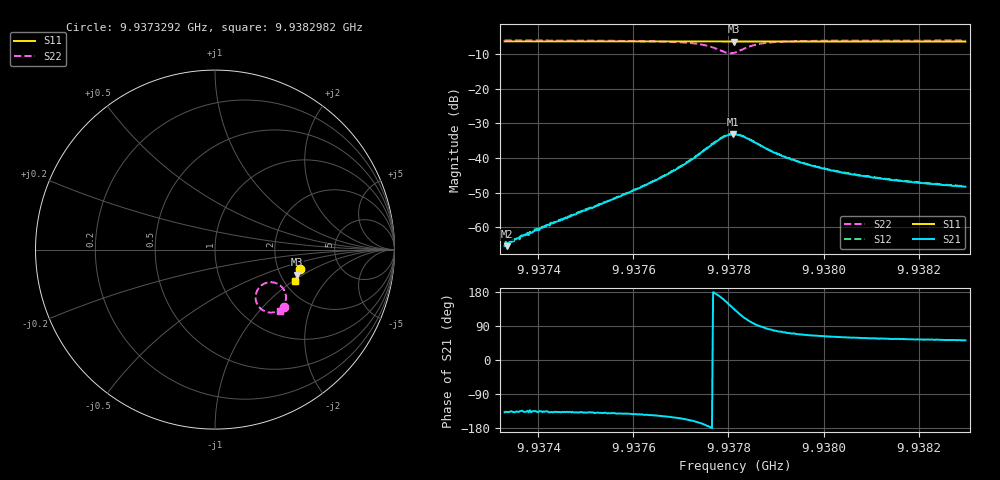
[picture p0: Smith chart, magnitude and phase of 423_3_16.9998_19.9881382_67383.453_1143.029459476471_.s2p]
#  HZ  S  RI  R  50.00
! Rohde & Schwarz Vector Network Analyzer
! Rohde-Schwarz,ZNB20-2Port,1311601062101988,3.16
! Created: UTC 3/20/2024, 11:11:03 PM
! freq[Hz]  re:S11  im:S11  re:S21  im:S21  re:S12  im:S12  re:S22  im:S22
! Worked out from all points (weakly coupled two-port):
!   401 points, 9.9373292 GHz to 9.9382982 GHz, reference 50 ohm
!   highest |S21| = -33.15 dB at 9.9378089 GHz (marker M1); lowest = -65.5 dB at 9.937334 GHz (marker M2)
!   lowest |S11| = -6.4 dB at 9.9378113 GHz (marker M3), VSWR 2.84, Z = 123 - j44.8 ohm
!   |S11| at or under -10 dB: nowhere
!   |S22| runs from -9.8 to -6.1 dB; largest |S21 - S12| = 0.00091
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9.93732918e9  0.4709 -0.1103  -0.000399 -0.00036  -0.000432 -0.000363  0.3822 -0.3187
9.93733403e9  0.4705 -0.1108  -0.000391 -0.000361  -0.000434 -0.000398  0.3818 -0.319
9.9373413e9  0.4704 -0.1112  -0.000449 -0.000434  -0.000458 -0.000403  0.3813 -0.3194
9.93736552e9  0.4698 -0.1129  -0.000527 -0.000552  -0.000538 -0.0005  0.3794 -0.3215
9.93738248e9  0.4694 -0.114  -0.000568 -0.000617  -0.000633 -0.000564  0.3779 -0.3227
9.9374164e9  0.4688 -0.1163  -0.000735 -0.000726  -0.000805 -0.000713  0.3749 -0.3253
9.9374915e9  0.4673 -0.1213  -0.00123 -0.00114  -0.00128 -0.00114  0.3668 -0.3314
9.93758598e9  0.465 -0.1277  -0.00239 -0.00191  -0.00246 -0.00187  0.3523 -0.3405
9.93765382e9  0.4633 -0.1323  -0.00424 -0.00272  -0.00431 -0.00268  0.3337 -0.3477
9.93770469e9  0.4618 -0.1357  -0.00715 -0.00326  -0.00734 -0.00322  0.3071 -0.3507
9.93775073e9  0.4601 -0.1386  -0.013 -0.00209  -0.0132 -0.00179  0.2614 -0.3347
9.93778706e9  0.4582 -0.1402  -0.0187 0.00606  -0.0189 0.00656  0.2263 -0.264
9.93780887e9  0.4578 -0.1404  -0.0163 0.0148  -0.016 0.0155  0.2582 -0.1998
9.93781129e9  0.4577 -0.1405  -0.0155 0.0154  -0.0152 0.0162  0.265 -0.1949
9.93781371e9  0.4578 -0.1406  -0.0146 0.0163  -0.0145 0.017  0.2723 -0.1906
9.93783552e9  0.4582 -0.1415  -0.00664 0.0186  -0.00614 0.0191  0.3381 -0.186
9.93786701e9  0.4583 -0.1439  0.000382 0.0151  0.000687 0.0152  0.3849 -0.2252
9.93791789e9  0.4575 -0.1476  0.00306 0.00994  0.00327 0.00999  0.3956 -0.2717
9.93797603e9  0.4562 -0.1517  0.0033 0.00696  0.00343 0.00696  0.3902 -0.2979
9.93804387e9  0.4544 -0.1562  0.00304 0.00525  0.00321 0.00527  0.3827 -0.3138
9.93813835e9  0.4518 -0.1624  0.00271 0.004  0.00283 0.00403  0.3736 -0.3273
9.93829824e9  0.4475 -0.1728  0.00237 0.00302  0.00242 0.00304  0.3609 -0.3417
